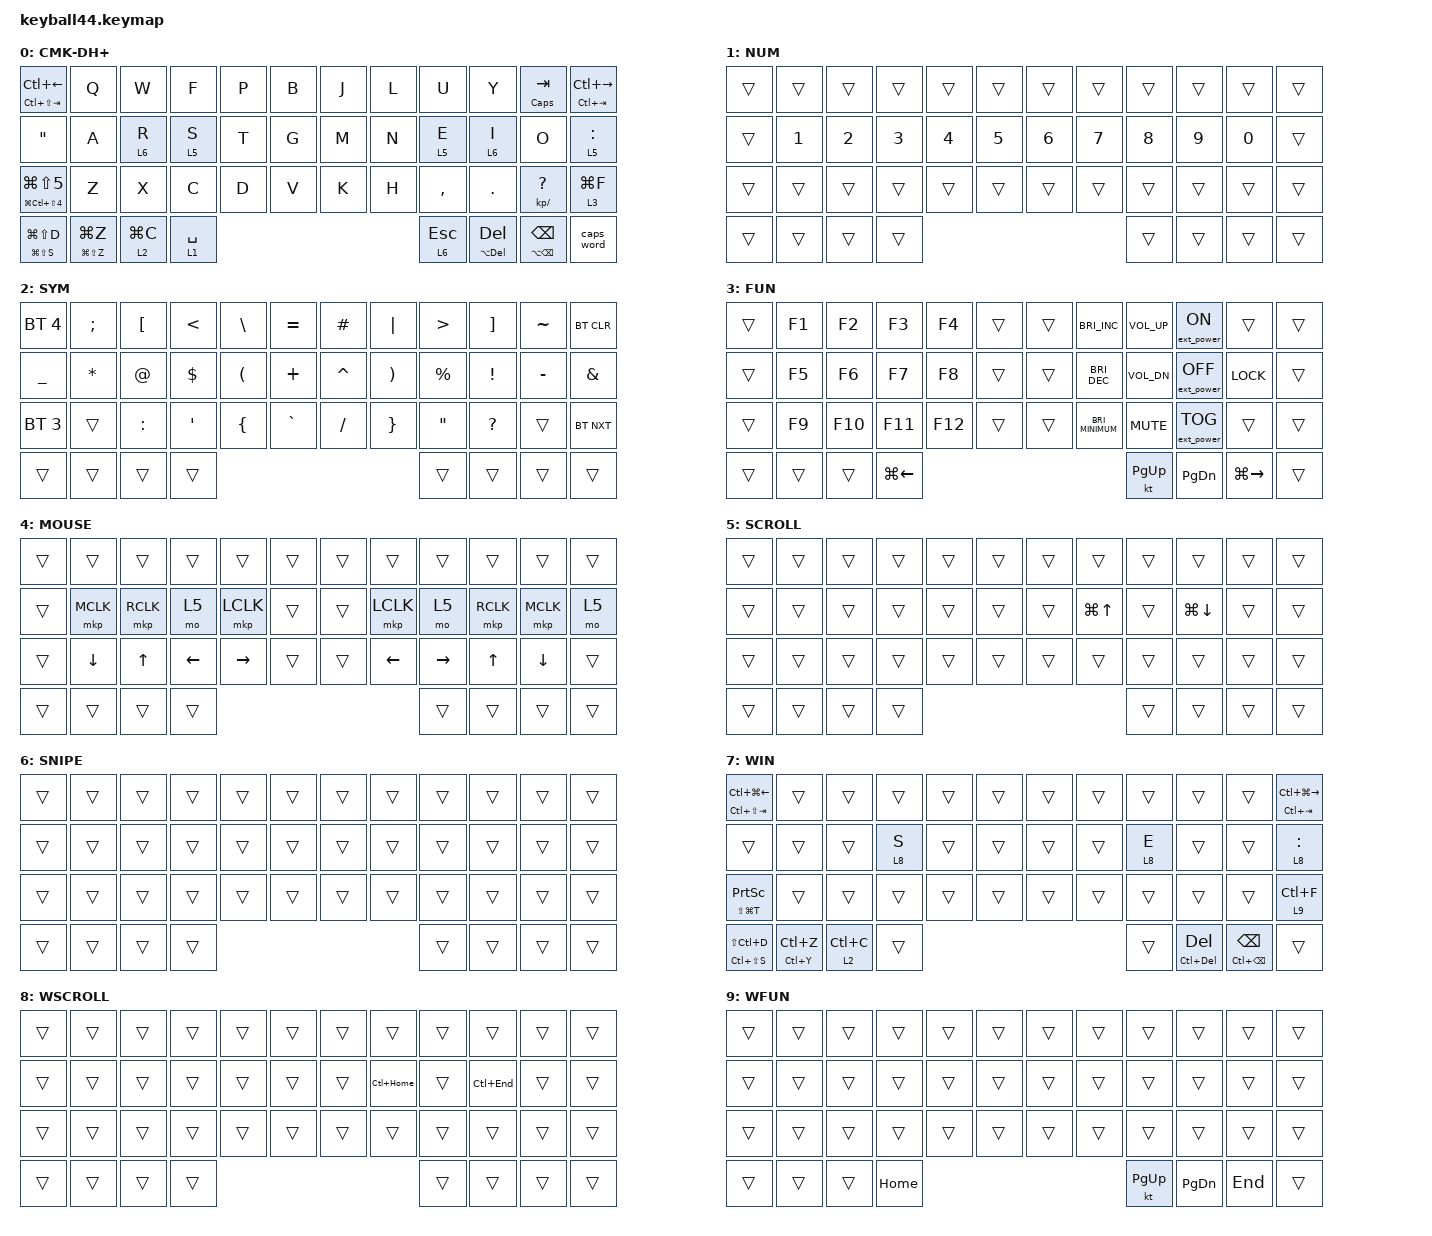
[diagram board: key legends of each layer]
#define DEFAULT 0
#define NUM      1
#define SYM      2
#define FUN      3
#define MOUSE    4
#define SCROLL   5
#define SNIPE    6
#define WIN      7
#define WSCROLL  8
#define WFUN     9

#include <behaviors/mouse_keys.dtsi>
#include <dt-bindings/zmk/mouse.h>
#include <behaviors.dtsi>
#include <dt-bindings/zmk/bt.h>
#include <dt-bindings/zmk/ext_power.h>
#include <dt-bindings/zmk/keys.h>
#include <dt-bindings/zmk/pointing.h>

&lt {
    tapping-term-ms = <200>;
    flavor = "balanced";
    quick-tap-ms = <0>;
};

&mt {
    tapping-term-ms = <200>;
    flavor = "balanced";
    quick-tap-ms = <0>;
};

&caps_word { continue-list = <UNDERSCORE MINUS>; };

/ {
    combos {
        compatible = "zmk,combos";

        Page_Refresh {
            timeout-ms = <50>;
            key-positions = <32 20>; // E and I keys
            bindings = <&kp LG(R)>;
            layers = <0 1 2 3 4 5 6>;
        };

        Page_Backwards {
            timeout-ms = <50>;
            key-positions = <19 31>; // N and E keys
            bindings = <&kp LG(LEFT_BRACKET)>;
            layers = <0 1 2 3 4 5 6>;
        };

        Page_Forward {
            timeout-ms = <50>;
            key-positions = <33 21>; // N, E, and I keys
            bindings = <&kp LG(RIGHT_BRACKET)>;
            layers = <0 1 2 3 4 5 6>;
        };

        Scroll_Layer_Lock {
            bindings = <&tog 5>;
            key-positions = <10 22>;
            layers = <0 1 2 3 4 5 6>;
        };

        To_Default_Layer_0 {
            bindings = <&to 0>;
            key-positions = <6 5>;
        };

        New_Tab {
            bindings = <&kp LG(T)>;
            key-positions = <42 20>;
            layers = <0 1 2 3 4 5 6>;
        };

        Reopen_Closed_Tab {
            bindings = <&kp LG(LS(T))>;
            key-positions = <42 22>;
            layers = <0 1 2 3 4 5 6>;
        };

        Clipboard {
            bindings = <&kp LG(LS(V))>;
            key-positions = <39 38>;
            layers = <0 1 2 3 4 5 6>;
        };

        Close_Tab {
            bindings = <&kp LG(W)>;
            key-positions = <42 21>;
            layers = <0 1 2 3 4 5 6>;
        };

        No_Format_Paste {
            bindings = <&kp LG(LA(LS(V)))>;
            key-positions = <16 15 14>;
            layers = <0 1 2 3 4 5 6>;
        };

        Cut {
            bindings = <&kp LG(X)>;
            key-positions = <17 16>;
            layers = <0 1 2 3 4 5 6>;
        };

        Snipe_Layer_Lock {
            bindings = <&tog 6>;
            key-positions = <35 43>;
        };

        Window_Right {
            bindings = <&kp LG(TAB)>;
            key-positions = <31 32 33>;
            layers = <0 1 2 3 4 5 6>;
        };

        Window_Left {
            bindings = <&kp LG(LS(TAB))>;
            key-positions = <7 8 9>;
            layers = <0 1 2 3 4 5 6>;
        };

        Tab_Right {
            bindings = <&kp LC(TAB)>;
            key-positions = <31 32>;
        };

        Tab_Left {
            bindings = <&kp LC(LS(TAB))>;
            key-positions = <7 8>;
        };

        Shift_Homerow_Mod_RH {
            bindings = <&kp RIGHT_SHIFT>;
            key-positions = <7 19>;
        };

        Ctrl_Homerow_Mod_RH {
            bindings = <&kp RCTRL>;
            key-positions = <20 8>;
        };

        Alt_Homerow_Mod_RH {
            bindings = <&kp RIGHT_ALT>;
            key-positions = <21 9>;
        };

        Windows_Homerow_Mod_RH {
            bindings = <&kp LEFT_GUI>;
            key-positions = <6 18>;
        };

        Shift_Homerow_Mod_LH {
            bindings = <&kp LEFT_SHIFT>;
            key-positions = <16 4>;
        };

        Ctrl_Homerow_Mod_LH {
            bindings = <&kp LCTRL>;
            key-positions = <15 3>;
        };

        Alt_Homerow_Mod_LH {
            bindings = <&kp LEFT_ALT>;
            key-positions = <14 2>;
        };

        Windows_Homerow_Mod_LH {
            bindings = <&kp LEFT_GUI>;
            key-positions = <17 5>;
        };

        Window_Task_View {
            bindings = <&kp LC(UP)>;
            key-positions = <21 20>;
            layers = <0 1 2 3 4 5 6>;
        };

        Layer_Reset_RH {
            bindings = <&to 0>;
            key-positions = <22 21>;
        };

        Layer_Reset_LH {
            bindings = <&to 0>;
            key-positions = <13 14>;
        };

        Enter {
            bindings = <&kp ENTER>;
            key-positions = <42 19>;
        };

        Left_Arrow {
            bindings = <&kp LEFT_ARROW>;
            key-positions = <30 18>;
        };

        Right_Arrow {
            bindings = <&kp RIGHT>;
            key-positions = <29 17>;
        };

        Up_Arrow {
            bindings = <&kp UP_ARROW>;
            key-positions = <18 30 42>;
        };

        Down_Arrow {
            bindings = <&kp DOWN>;
            key-positions = <17 29 39>;
        };

        the_Text_Fill_Macro {
            bindings = <&the_Text_Macro>;
            key-positions = <15 27>;
        };

        tion_Text_Fill_Macro {
            bindings = <&tion_Text_Suffix_Macro>;
            key-positions = <16 28>;
        };

        Here_Is_What_Kilo_Did_Macro {
            bindings = <&Kilo_Did_Mcro>;
            key-positions = <14 26>;
        };

        and_Text_Fill_Macro {
            bindings = <&and_Text_Macro>;
            key-positions = <13 25>;
        };

        Tripple_Click_Macro_RH {
            bindings = <&Tripple_Click_Macro>;
            key-positions = <19 20>;
        };

        Shift_Enter {
            bindings = <&kp LS(ENTER)>;
            key-positions = <42 18>;
        };

        Ctrl_Enter {
            bindings = <&kp LG(ENTER)>;
            key-positions = <19 41 42>;
            layers = <0 1 2 3 4 5 6>;
        };

        Tripple_Click_Macro_LH {
            bindings = <&Tripple_Click_Macro>;
            key-positions = <2 3>;
        };

        Doubble_Click_Macro_LH {
            bindings = <&Double_Click_Macro>;
            key-positions = <15 14>;
        };

        Lock_Screen {
            bindings = <&kp LC(LG(Q))>;
            key-positions = <11 10>;
            layers = <0 1 2 3 4 5 6>;
        };

        RH_Paste {
            bindings = <&kp LG(V)>;
            key-positions = <22 34>;
            layers = <0 1 2 3 4 5 6>;
        };

        RH_Copy {
            bindings = <&kp LG(C)>;
            key-positions = <22 23>;
            layers = <0 1 2 3 4 5 6>;
        };

        Ctrl_A_Select_All {
            bindings = <&kp LG(A)>;
            key-positions = <18 19>;
            layers = <0 1 2 3 4 5 6>;
        };

        Layer_Lock_Reset {
            bindings = <&to 0>;
            key-positions = <6 7>;
        };

        Doubble_Line_Break {
            bindings = <&Doubble_Line_Break_Macro>;
            key-positions = <30 31>;
        };

        Bottom_of_Page {
            bindings = <&kp LG(DOWN)>;
            key-positions = <8 9>;
            layers = <0 1 2 3 4 5 6>;
        };

        Start_Of_Page {
            bindings = <&kp LG(UP)>;
            key-positions = <7 8>;
            layers = <0 1 2 3 4 5 6>;
        };

        copy {
            bindings = <&kp LG(C)>;
            key-positions = <21 33>;
            layers = <0 1 2 3 4 5 6>;
        };

        Windows_Mode_Toggle {
            bindings = <&tog 7>;
            key-positions = <0 11>;
        };

        Page_Refresh_Win {
            timeout-ms = <50>;
            key-positions = <32 20>; // E and I keys
            bindings = <&kp LC(R)>;
            layers = <7 8 9>;
        };

        Page_Backwards_Win {
            timeout-ms = <50>;
            key-positions = <19 31>; // N and E keys
            bindings = <&kp LA(LEFT)>;
            layers = <7 8 9>;
        };

        Page_Forward_Win {
            timeout-ms = <50>;
            key-positions = <33 21>; // N, E, and I keys
            bindings = <&kp LA(RIGHT)>;
            layers = <7 8 9>;
        };

        Scroll_Layer_Lock_Win {
            bindings = <&tog 8>;
            key-positions = <10 22>;
            layers = <7 8 9>;
        };

        New_Tab_Win {
            bindings = <&kp LC(T)>;
            key-positions = <42 20>;
            layers = <7 8 9>;
        };

        Reopen_Closed_Tab_Win {
            bindings = <&kp LC(LS(T))>;
            key-positions = <42 22>;
            layers = <7 8 9>;
        };

        Clipboard_Win {
            bindings = <&kp LG(V)>;
            key-positions = <39 38>;
            layers = <7 8 9>;
        };

        Close_Tab_Win {
            bindings = <&kp LC(W)>;
            key-positions = <42 21>;
            layers = <7 8 9>;
        };

        No_Format_Paste_Win {
            bindings = <&kp LC(LS(V))>;
            key-positions = <16 15 14>;
            layers = <7 8 9>;
        };

        Cut_Win {
            bindings = <&kp LC(X)>;
            key-positions = <17 16>;
            layers = <7 8 9>;
        };

        Window_Right_Win {
            bindings = <&kp LA(TAB)>;
            key-positions = <31 32 33>;
            layers = <7 8 9>;
        };

        Window_Left_Win {
            bindings = <&kp LA(LS(TAB))>;
            key-positions = <7 8 9>;
            layers = <7 8 9>;
        };

        Window_Task_View_Win {
            bindings = <&kp LG(TAB)>;
            key-positions = <21 20>;
            layers = <7 8 9>;
        };

        Ctrl_Enter_Win {
            bindings = <&kp LC(ENTER)>;
            key-positions = <19 41 42>;
            layers = <7 8 9>;
        };

        Lock_Screen_Win {
            bindings = <&kp LG(L)>;
            key-positions = <11 10>;
            layers = <7 8 9>;
        };

        RH_Paste_Win {
            bindings = <&kp LC(V)>;
            key-positions = <22 34>;
            layers = <7 8 9>;
        };

        RH_Copy_Win {
            bindings = <&kp LC(C)>;
            key-positions = <22 23>;
            layers = <7 8 9>;
        };

        Ctrl_A_Select_All_Win {
            bindings = <&kp LC(A)>;
            key-positions = <18 19>;
            layers = <7 8 9>;
        };

        Bottom_of_Page_Win {
            bindings = <&kp LC(END)>;
            key-positions = <8 9>;
            layers = <7 8 9>;
        };

        Start_Of_Page_Win {
            bindings = <&kp LC(HOME)>;
            key-positions = <7 8>;
            layers = <7 8 9>;
        };

        copy_Win {
            bindings = <&kp LC(C)>;
            key-positions = <21 33>;
            layers = <7 8 9>;
        };
    };

    behaviors {
        lt_spc: layer_tap_space {
            compatible = "zmk,behavior-hold-tap";
            label = "LAYER_TAP_SPACE";
            #binding-cells = <2>;
            tapping-term-ms = <200>;
            quick-tap-ms = <150>;
            flavor = "balanced";
            retro-tap;
            bindings = <&mo>, <&kp>;
        };

        cmqus: comma_question {
            compatible = "zmk,behavior-mod-morph";
            label = "COMMA_QUESTION";
            #binding-cells = <0>;
            bindings = <&kp COMMA>, <&kp QUESTION>;

            mods = <(MOD_LSFT|MOD_RSFT)>;
        };

        dtsmi: dot_semi {
            compatible = "zmk,behavior-mod-morph";
            label = "DOT_SEMI";
            #binding-cells = <0>;
            bindings = <&kp DOT>, <&kp SEMI>;

            mods = <(MOD_LSFT|MOD_RSFT)>;
        };

        hm: homerow_mods {
            compatible = "zmk,behavior-hold-tap";
            label = "HOMEROW_MODS";
            #binding-cells = <2>;
            tapping-term-ms = <200>;
            quick-tap-ms = <175>;
            require-prior-idle-ms = <125>;
            flavor = "tap-preferred";
            bindings = <&kp>, <&kp>;
        };
    };

    macros {
        the_Text_Macro: The_Text_Macro {
            compatible = "zmk,behavior-macro";
            #binding-cells = <0>;
            bindings = <&kp T &kp H &kp E>;
            label = "THE_TEXT_MACRO";
        };

        and_Text_Macro: and_text_macro {
            compatible = "zmk,behavior-macro";
            #binding-cells = <0>;
            bindings = <&kp A &kp N &kp D>;
            label = "AND_TEXT_MACRO";
        };

        ing_Text_Macro: ing_Text_Macro {
            compatible = "zmk,behavior-macro";
            #binding-cells = <0>;
            bindings = <&kp I &kp N &kp G>;
            label = "ING_TEXT_MACRO";
        };

        tion_Text_Suffix_Macro: tion_Text_Macro {
            compatible = "zmk,behavior-macro";
            #binding-cells = <0>;
            bindings = <&kp T &kp I &kp O &kp N>;
            label = "TION_TEXT_MACRO";
        };

        ment_Text_Suffix_Macro: ment_Text_Suffix_Macro {
            compatible = "zmk,behavior-macro";
            #binding-cells = <0>;
            bindings = <&kp M &kp E &kp N &kp T>;
            label = "MENT_TEXT_SUFFIX_MACRO";
        };

        ATgmailDOTcom_Text_Macro: ATgmailDOTcom_Text_Macro {
            compatible = "zmk,behavior-macro";
            #binding-cells = <0>;
            bindings = <&kp AT &kp G &kp M &kp A &kp I &kp L &kp DOT &kp C &kp O &kp M>;
            label = "ATGMAILDOTCOM_TEXT_MACRO";
        };

        Tripple_Click_Macro: Tripple_Click_Macro {
            compatible = "zmk,behavior-macro";
            #binding-cells = <0>;
            bindings = <&mkp LCLK &mkp LCLK &mkp LCLK>;
            label = "TRIPPLE_CLICK_MACRO";
        };

        Double_Click_Macro: Double_Click_Macro {
            compatible = "zmk,behavior-macro";
            #binding-cells = <0>;
            bindings = <&mkp LCLK &mkp LCLK>;
            label = "DOUBLE_CLICK_MACRO";
        };

        Doubble_Line_Break_Macro: Doubble_Line_Break_Macro {
            compatible = "zmk,behavior-macro";
            #binding-cells = <0>;
            bindings = <&kp LS(ENTER) &kp LS(ENTER)>;
            label = "DOUBBLE_LINE_BREAK_MACRO";
        };

        Here_Is_What_Cline_Did_Macro: Here_Is_What_Cline_Did_Macro {
            compatible = "zmk,behavior-macro";
            #binding-cells = <0>;
            bindings = <&kp LS(H) &kp E &kp R &kp E &kp SPACE &kp I &kp S &kp SPACE &kp W &kp H &kp A &kp T &kp SPACE &kp C &kp L &kp I &kp N &kp E &kp SPACE &kp S &kp A &kp I &kp D &kp SPACE &kp A &kp N &kp D &kp SPACE &kp D &kp I &kp D &kp SPACE>;
            label = "HERE_IS_WHAT_CLINE_DID_MACRO";
        };

        Kilo_Did_Mcro: Kilo_Did_Mcro {
            compatible = "zmk,behavior-macro";
            #binding-cells = <0>;
            bindings = <&none &kp LS(H) &kp E &kp R &kp E &kp SPACE &kp I &kp S &kp SPACE &kp W &kp H &kp A &kp T &kp SPACE &kp LS(K) &kp I &kp L &kp O &kp SPACE &kp S &kp A &kp I &kp D>;
            label = "KILO_DID_MCRO";
        };

        Left_Click_and_Scroll: Left_Click_and_Scroll {
            compatible = "zmk,behavior-macro";
            #binding-cells = <0>;
            bindings = <&mkp LCLK &kp LG(DOWN)>;
            label = "LEFT_CLICK_AND_SCROLL";
        };
    };

    keymap {
        compatible = "zmk,keymap";

        default_layer {
            label = "CMK-DH+";
            bindings = <
&mt LC(LS(TAB)) LC(LEFT)  &kp Q            &kp W        &kp F        &kp P         &kp B                             &kp J                        &kp L  &kp U      &kp Y       &mt CAPSLOCK TAB        &mt LC(TAB) LC(RIGHT)
&kp DOUBLE_QUOTES             &kp A            &lt 6 R      &lt 5 S      &kp T         &kp G                             &kp M                        &kp N  &lt 5 E    &lt 6 I     &kp O                   &lt 5 COLON
&mt LG(LC(LS(N4))) LG(LS(N5))     &kp Z            &kp X        &kp C        &kp D         &kp V                             &kp K                        &kp H  &kp COMMA  &kp PERIOD  &mt KP_DIVIDE QUESTION  &lt 3 LG(F)
&mt LG(LS(S)) LG(LS(D))       &mt LG(LS(Z)) LG(Z)  &lt 2 LG(C)  &lt 1 SPACE  &lt 6 ESCAPE             &mt LA(DELETE) DELETE  &mt LA(BACKSPACE) BACKSPACE                                                        &caps_word
            >;
        };

        number_layer {
            label = "NUM";
            bindings = <
&trans  &trans        &trans        &trans        &trans        &trans                    &trans        &trans        &trans        &trans        &trans        &trans
&trans  &kp NUMBER_1  &kp NUMBER_2  &kp NUMBER_3  &kp NUMBER_4  &kp NUMBER_5              &kp NUMBER_6  &kp NUMBER_7  &kp NUMBER_8  &kp NUMBER_9  &kp NUMBER_0  &trans
&trans  &trans        &trans        &trans        &trans        &trans                    &trans        &trans        &trans        &trans        &trans        &trans
&trans  &trans        &trans        &trans        &trans                          &trans  &trans                                                                &trans
            >;
        };

        symbol_layer {
            label = "SYM";
            bindings = <
&bt BT_SEL 4    &kp SEMI      &kp LEFT_BRACKET  &kp LESS_THAN  &kp BACKSLASH         &kp EQUAL              &kp HASH   &kp PIPE               &kp GREATER_THAN   &kp RIGHT_BRACKET  &kp TILDE  &bt BT_CLR
&kp UNDERSCORE  &kp ASTERISK  &kp AT_SIGN       &kp DOLLAR     &kp LEFT_PARENTHESIS  &kp PLUS               &kp CARET  &kp RIGHT_PARENTHESIS  &kp PERCENT        &kp EXCLAMATION    &kp MINUS  &kp AMPS
&bt BT_SEL 3    &trans        &kp COLON         &kp SQT        &kp LEFT_BRACE        &kp GRAVE              &kp FSLH   &kp RIGHT_BRACE        &kp DOUBLE_QUOTES  &kp QUESTION       &trans     &bt BT_NXT
&trans          &trans        &trans            &trans         &trans                               &trans  &trans                                                                             &trans
            >;
        };

        function_layer {
            label = "FUN";
            bindings = <
&trans  &kp F1  &kp F2   &kp F3    &kp F4       &trans                     &trans   &kp C_BRIGHTNESS_INC      &kp C_VOLUME_UP  &ext_power EP_ON   &trans      &trans
&trans  &kp F5  &kp F6   &kp F7    &kp F8       &trans                     &trans   &kp C_BRIGHTNESS_DEC      &kp C_VOL_DN     &ext_power EP_OFF  &kp K_LOCK  &trans
&trans  &kp F9  &kp F10  &kp F11   &kp F12      &trans                     &trans   &kp C_BRIGHTNESS_MINIMUM  &kp K_MUTE       &ext_power EP_TOG  &trans      &trans
&trans  &trans  &trans   &kp LG(LEFT)  &kt PAGE_UP              &kp PAGE_DOWN  &kp LG(RIGHT)                                                                            &trans
            >;
        };

        mouse_layer {
            label = "MOUSE";
            bindings = <
&trans  &trans     &trans        &trans          &trans     &trans              &trans  &trans     &trans     &trans        &trans     &trans
&trans  &mkp MCLK  &mkp RCLK     &mo 5           &mkp LCLK  &trans              &trans  &mkp LCLK  &mo 5      &mkp RCLK     &mkp MCLK  &mo 5
&trans  &kp DOWN   &kp UP_ARROW  &kp LEFT_ARROW  &kp RIGHT  &trans              &trans  &kp LEFT   &kp RIGHT  &kp UP_ARROW  &kp DOWN   &trans
&trans  &trans     &trans        &trans          &trans                 &trans  &trans                                                 &trans
            >;
        };

        scroll_layer {
            label = "SCROLL";
            bindings = <
&trans  &trans  &trans  &trans  &trans  &trans              &trans  &trans        &trans  &trans       &trans  &trans
&trans  &trans  &trans  &trans  &trans  &trans              &trans  &kp LG(UP)  &trans  &kp LG(DOWN)  &trans  &trans
&trans  &trans  &trans  &trans  &trans  &trans              &trans  &trans        &trans  &trans       &trans  &trans
&trans  &trans  &trans  &trans  &trans              &trans  &trans                                             &trans
            >;
        };

        snipe_layer {
            label = "SNIPE";
            bindings = <
&trans  &trans  &trans  &trans  &trans  &trans              &trans  &trans  &trans  &trans  &trans  &trans
&trans  &trans  &trans  &trans  &trans  &trans              &trans  &trans  &trans  &trans  &trans  &trans
&trans  &trans  &trans  &trans  &trans  &trans              &trans  &trans  &trans  &trans  &trans  &trans
&trans  &trans  &trans  &trans  &trans              &trans  &trans                                  &trans
            >;
        };

        windows_layer {
            label = "WIN";
            bindings = <
&mt LC(LS(TAB)) LC(LG(LEFT))  &trans  &trans  &trans  &trans  &trans  &trans  &trans  &trans  &trans  &trans  &mt LC(TAB) LC(LG(RIGHT))
&trans  &trans  &trans  &lt 8 S  &trans  &trans  &trans  &trans  &lt 8 E  &trans  &trans  &lt 8 COLON
&mt LS(LG(T)) PRINTSCREEN  &trans  &trans  &trans  &trans  &trans  &trans  &trans  &trans  &trans  &trans  &lt 9 LC(F)
&mt LC(LS(S)) LS(LC(D))  &mt LC(Y) LC(Z)  &lt 2 LC(C)  &trans  &trans  &mt LC(DELETE) DELETE  &mt LC(BACKSPACE) BACKSPACE  &trans
            >;
        };

        windows_scroll_layer {
            label = "WSCROLL";
            bindings = <
&trans  &trans  &trans  &trans  &trans  &trans  &trans  &trans  &trans  &trans  &trans  &trans
&trans  &trans  &trans  &trans  &trans  &trans  &trans  &kp LC(HOME)  &trans  &kp LC(END)  &trans  &trans
&trans  &trans  &trans  &trans  &trans  &trans  &trans  &trans  &trans  &trans  &trans  &trans
&trans  &trans  &trans  &trans  &trans  &trans  &trans  &trans
            >;
        };

        windows_function_layer {
            label = "WFUN";
            bindings = <
&trans  &trans  &trans  &trans  &trans  &trans  &trans  &trans  &trans  &trans  &trans  &trans
&trans  &trans  &trans  &trans  &trans  &trans  &trans  &trans  &trans  &trans  &trans  &trans
&trans  &trans  &trans  &trans  &trans  &trans  &trans  &trans  &trans  &trans  &trans  &trans
&trans  &trans  &trans  &kp HOME  &kt PAGE_UP  &kp PAGE_DOWN  &kp END  &trans
            >;
        };
    };
};
